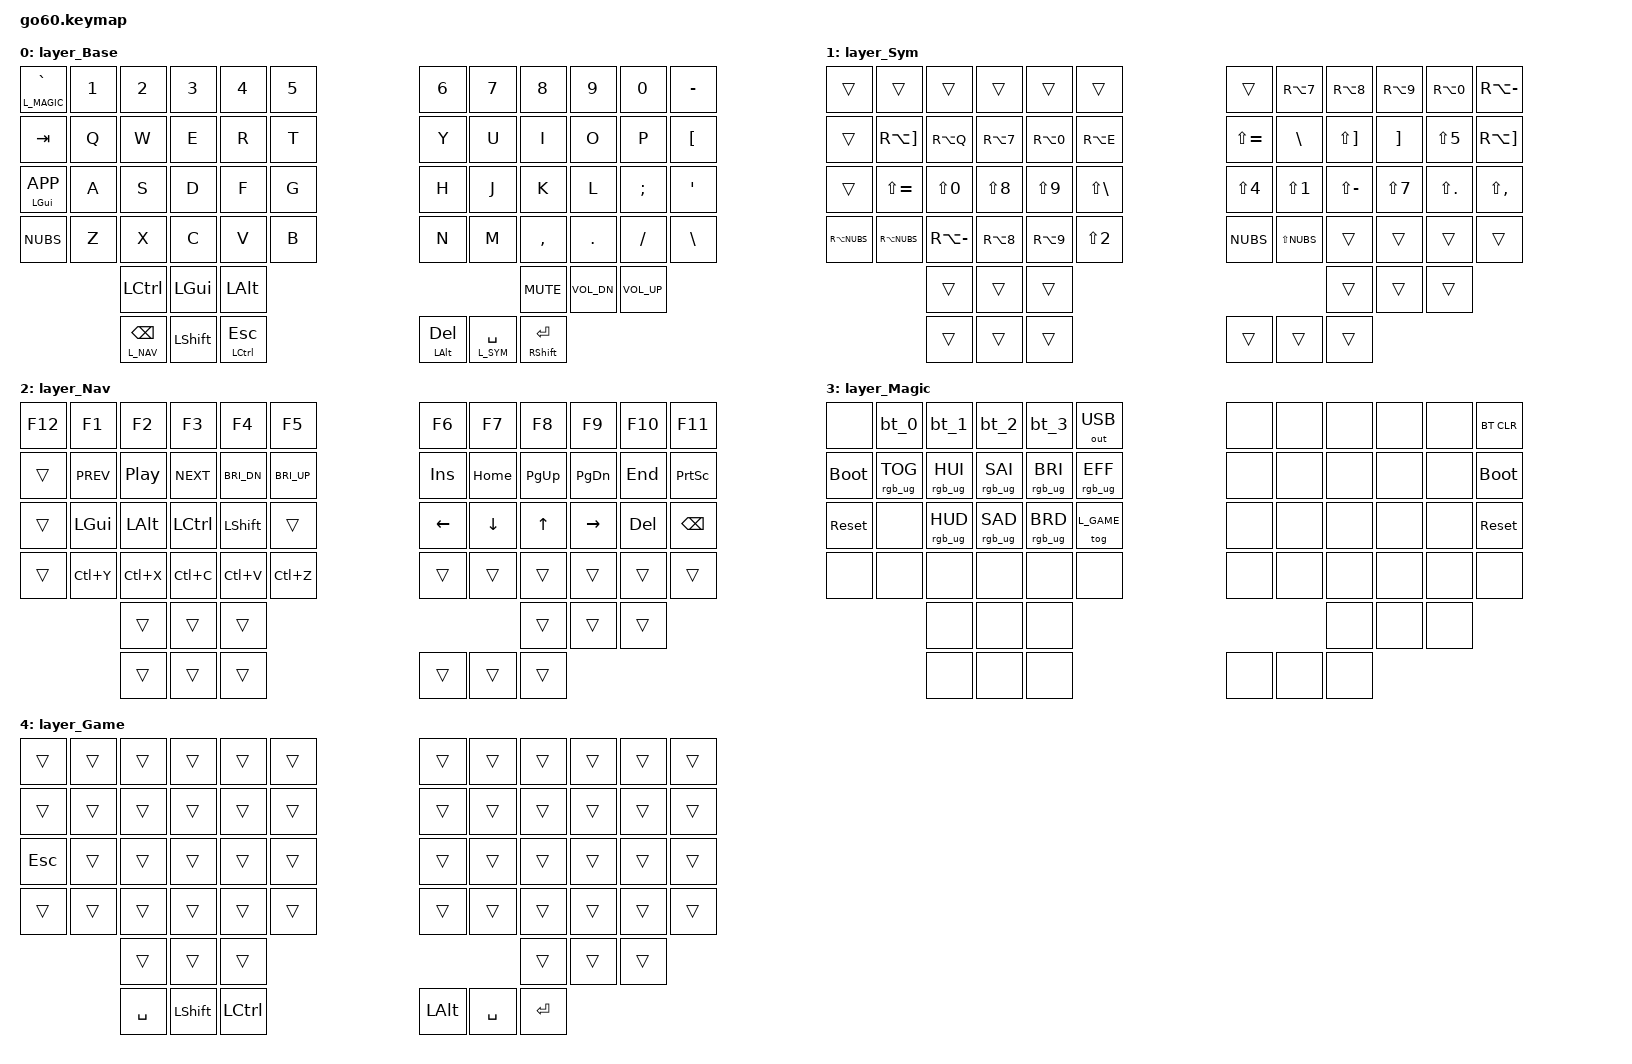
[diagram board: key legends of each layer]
/*
 * Go60 — QWERTZ (de) layout with Sym / Nav / Magic / Game layers.
 * OS layout: de, variant nodeadkeys, options compose:menu.
 * Layout reference: https://claude.ai/artifact/2J937QppWrZbUTjF22HWoF
 *
 * Drop this file in as config/go60.keymap of a repo created from
 * https://github.com/moergo-keyboards/go60-zmk-config
 */

#include <behaviors.dtsi>

#include <dt-bindings/zmk/bt.h>
#include <dt-bindings/zmk/ext_power.h>
#include <dt-bindings/zmk/keys.h>
#include <dt-bindings/zmk/outputs.h>
#include <dt-bindings/zmk/rgb.h>
#include <dt-bindings/zmk/input_transform.h>
#include <dt-bindings/zmk/pointing.h>

#include <input/processors.dtsi>
#include <zephyr/dt-bindings/input/input-event-codes.h>

// layers
#define L_BASE  0
#define L_SYM   1
#define L_NAV   2
#define L_MAGIC 3
#define L_GAME  4

// German keycodes on the de(nodeadkeys) xkb layout
#define DE_CIRC GRAVE      // ^  (° shifted)
#define DE_SS   MINUS      // ß  (? shifted)
#define DE_UE   LBKT       // ü
#define DE_OE   SEMI       // ö
#define DE_AE   SQT        // ä
#define DE_HASH BSLH       // #  (' shifted)
#define DE_LABK NUBS       // <  (> shifted)
#define DE_RABK LS(NUBS)   // >
#define DE_MINS SLASH      // -  (_ shifted)
#define DE_Z    Y
#define DE_Y    Z
#define DE_TILD RA(RBKT)   // ~
#define DE_AT   RA(Q)      // @
#define DE_EURO RA(E)      // €
#define DE_LBRC RA(N7)     // {
#define DE_LBKT RA(N8)     // [
#define DE_RBKT RA(N9)     // ]
#define DE_RBRC RA(N0)     // }
#define DE_BSLS RA(MINUS)  // backslash
#define DE_PIPE RA(NUBS)   // |
#define DE_GRV  LS(EQUAL)  // `
#define DE_EQL  LS(N0)     // =
#define DE_LPRN LS(N8)     // (
#define DE_RPRN LS(N9)     // )
#define DE_QUOT LS(BSLH)   // '
#define DE_DQT  LS(N2)     // "
#define DE_ASTR LS(RBKT)   // *
#define DE_PLUS RBKT       // +
#define DE_PERC LS(N5)     // %
#define DE_DLR  LS(N4)     // $
#define DE_EXCL LS(N1)     // !
#define DE_QUES LS(MINUS)  // ?
#define DE_SLSH LS(N7)     // /
#define DE_COLN LS(DOT)    // :
#define DE_SCLN LS(COMMA)  // ;

// Layer-taps and mod-taps on the thumbs: balanced, with prior-idle so fast
// letter+Space rolls never turn into a symbol.
&lt { flavor = "balanced"; tapping-term-ms = <200>; quick-tap-ms = <175>; require-prior-idle-ms = <125>; };
&mt { flavor = "balanced"; tapping-term-ms = <200>; quick-tap-ms = <175>; require-prior-idle-ms = <125>; };

/ {
    input_processors {
        zip_click_to_right_click_mapper: zip_click_to_right_click_mapper {
            compatible = "zmk,input-processor-code-mapper";
            #input-processor-cells = <0>;
            type = <INPUT_EV_KEY>;
            map = <INPUT_BTN_0 INPUT_BTN_1>;
        };
    };

    behaviors {
        // CapsLock spot: tap = Compose (Menu keycode + xkb compose:menu), hold = Super.
        cmp_gui: cmp_gui {
            compatible = "zmk,behavior-hold-tap";
            #binding-cells = <2>;
            flavor = "tap-preferred";
            tapping-term-ms = <200>;
            quick-tap-ms = <175>;
            bindings = <&kp>, <&kp>;
        };

        // Top-left key: tap = ^, hold = Magic layer.
        lt_magic: lt_magic {
            compatible = "zmk,behavior-hold-tap";
            #binding-cells = <2>;
            flavor = "tap-preferred";
            tapping-term-ms = <250>;
            bindings = <&mo>, <&kp>;
        };



        bt_0: bt_0 { compatible = "zmk,behavior-tap-dance"; #binding-cells = <0>; tapping-term-ms = <200>; bindings = <&bt_select_0>, <&bt BT_DISC 0>; };
        bt_1: bt_1 { compatible = "zmk,behavior-tap-dance"; #binding-cells = <0>; tapping-term-ms = <200>; bindings = <&bt_select_1>, <&bt BT_DISC 1>; };
        bt_2: bt_2 { compatible = "zmk,behavior-tap-dance"; #binding-cells = <0>; tapping-term-ms = <200>; bindings = <&bt_select_2>, <&bt BT_DISC 2>; };
        bt_3: bt_3 { compatible = "zmk,behavior-tap-dance"; #binding-cells = <0>; tapping-term-ms = <200>; bindings = <&bt_select_3>, <&bt BT_DISC 3>; };
    };

    macros {
        bt_select_0: bt_select_0 { compatible = "zmk,behavior-macro"; #binding-cells = <0>; bindings = <&out OUT_BLE>, <&bt BT_SEL 0>; };
        bt_select_1: bt_select_1 { compatible = "zmk,behavior-macro"; #binding-cells = <0>; bindings = <&out OUT_BLE>, <&bt BT_SEL 1>; };
        bt_select_2: bt_select_2 { compatible = "zmk,behavior-macro"; #binding-cells = <0>; bindings = <&out OUT_BLE>, <&bt BT_SEL 2>; };
        bt_select_3: bt_select_3 { compatible = "zmk,behavior-macro"; #binding-cells = <0>; bindings = <&out OUT_BLE>, <&bt BT_SEL 3>; };
    };


    keymap {
        compatible = "zmk,keymap";

        // Key order per row: left C6..C1, right C1..C6. Bottom row: left C4 C3 C2, right C2 C3 C4.
        // Thumbs: left outer, middle, inner; right inner, middle, outer.

        layer_Base {
            bindings = <
 &lt_magic L_MAGIC DE_CIRC  &kp N1    &kp N2  &kp N3  &kp N4  &kp N5                                   &kp N6    &kp N7  &kp N8     &kp N9   &kp N0       &kp DE_SS
 &kp TAB                    &kp Q     &kp W   &kp E   &kp R   &kp T                                    &kp DE_Z  &kp U   &kp I      &kp O    &kp P        &kp DE_UE
 &cmp_gui LGUI K_APP        &kp A     &kp S   &kp D   &kp F   &kp G                                    &kp H     &kp J   &kp K      &kp L    &kp DE_OE    &kp DE_AE
 &kp DE_LABK                &kp DE_Y  &kp X   &kp C   &kp V   &kp B                                    &kp N     &kp M   &kp COMMA  &kp DOT  &kp DE_MINS  &kp DE_HASH
                                      &kp LCTRL  &kp LGUI  &kp LALT                                              &kp C_MUTE  &kp C_VOL_DN  &kp C_VOL_UP
                                          &lt L_NAV BSPC  &kp LSHFT        &mt LCTRL ESC      &mt LALT DEL  &lt L_SYM SPACE  &mt RSHFT RET
            >;
        };

        layer_Sym {
            bindings = <
 &trans       &trans       &trans       &trans       &trans       &trans                                &trans       &kp DE_LBRC  &kp DE_LBKT  &kp DE_RBKT  &kp DE_RBRC  &kp DE_BSLS
 &trans       &kp DE_TILD  &kp DE_AT    &kp DE_LBRC  &kp DE_RBRC  &kp DE_EURO                           &kp DE_GRV   &kp DE_HASH  &kp DE_ASTR  &kp DE_PLUS  &kp DE_PERC  &kp DE_TILD
 &trans       &kp DE_GRV   &kp DE_EQL   &kp DE_LPRN  &kp DE_RPRN  &kp DE_QUOT                           &kp DE_DLR   &kp DE_EXCL  &kp DE_QUES  &kp DE_SLSH  &kp DE_COLN  &kp DE_SCLN
 &kp DE_PIPE  &kp DE_PIPE  &kp DE_BSLS  &kp DE_LBKT  &kp DE_RBKT  &kp DE_DQT                            &kp DE_LABK  &kp DE_RABK  &trans       &trans       &trans       &trans
                                        &trans  &trans  &trans                                                       &trans  &trans  &trans
                                            &trans  &trans  &trans                                 &trans  &trans  &trans
            >;
        };

        layer_Nav {
            bindings = <
 &kp F12  &kp F1      &kp F2    &kp F3      &kp F4        &kp F5                                        &kp F6    &kp F7    &kp F8     &kp F9     &kp F10  &kp F11
 &trans   &kp C_PREV  &kp C_PP  &kp C_NEXT  &kp C_BRI_DN  &kp C_BRI_UP                                  &kp INS   &kp HOME  &kp PG_UP  &kp PG_DN  &kp END  &kp PSCRN
 &trans   &kp LGUI    &kp LALT  &kp LCTRL   &kp LSHFT     &trans                                        &kp LEFT  &kp DOWN  &kp UP     &kp RIGHT  &kp DEL  &kp BSPC
 &trans   &kp LC(Y)   &kp LC(X) &kp LC(C)   &kp LC(V)     &kp LC(Z)                                     &trans    &trans    &trans     &trans     &trans   &trans
                                &trans  &trans  &trans                                                            &trans  &trans  &trans
                                    &trans  &trans  &trans                                     &trans  &trans  &trans
            >;
        };

        layer_Magic {
            bindings = <
 &none        &bt_0            &bt_1            &bt_2            &bt_3            &out OUT_USB                          &none  &none  &none  &none  &none  &bt BT_CLR
 &bootloader  &rgb_ug RGB_TOG  &rgb_ug RGB_HUI  &rgb_ug RGB_SAI  &rgb_ug RGB_BRI  &rgb_ug RGB_EFF                       &none  &none  &none  &none  &none  &bootloader
 &sys_reset   &none            &rgb_ug RGB_HUD  &rgb_ug RGB_SAD  &rgb_ug RGB_BRD  &tog L_GAME                           &none  &none  &none  &none  &none  &sys_reset
 &none        &none            &none            &none            &none            &none                                 &none  &none  &none  &none  &none  &none
                                                &none  &none  &none                                                            &none  &none  &none
                                                    &none  &none  &none                                     &none  &none  &none
            >;
        };

        // Game: plain keys everywhere, no hold-taps. Toggle with Magic + G.
        layer_Game {
            bindings = <
 &trans   &trans  &trans  &trans  &trans  &trans                                                        &trans  &trans  &trans  &trans  &trans  &trans
 &trans   &trans  &trans  &trans  &trans  &trans                                                        &trans  &trans  &trans  &trans  &trans  &trans
 &kp ESC  &trans  &trans  &trans  &trans  &trans                                                        &trans  &trans  &trans  &trans  &trans  &trans
 &trans   &trans  &trans  &trans  &trans  &trans                                                        &trans  &trans  &trans  &trans  &trans  &trans
                          &trans  &trans  &trans                                                                &trans  &trans  &trans
                              &kp SPACE  &kp LSHFT  &kp LCTRL                                  &kp LALT  &kp SPACE  &kp RET
            >;
        };
    };
};

&cirque_rh_listener {
    input-processors = <&zip_xy_scaler 3 1>;
    layer_2 {
        layers = <2>;
        input-processors = <&zip_xy_scaler 9 1>;
    };
};

&cirque_lh_listener {
    input-processors = <&zip_xy_to_scroll_mapper>, <&zip_xy_scaler 1 8>, <&zip_click_to_right_click_mapper>;
    layer_4 {
        layers = <4>;
        input-processors = <&zip_xy_scaler 3 1>;
    };
};
